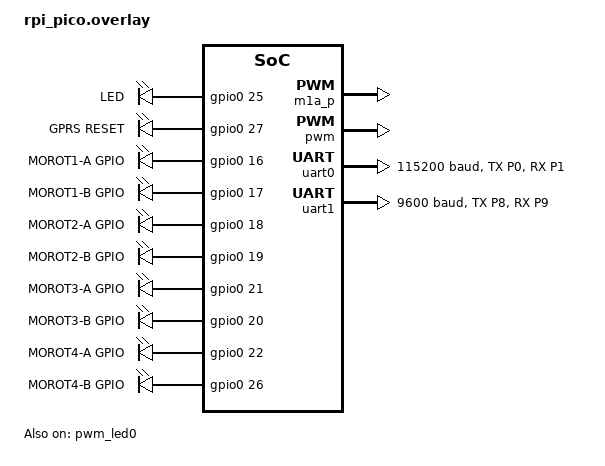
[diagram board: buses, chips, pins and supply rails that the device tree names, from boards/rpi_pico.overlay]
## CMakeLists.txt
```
# SPDX-License-Identifier: Apache-2.0

# NÃO MUDE ESTE ARQUIVO ELE É GERADO
# AUTOMATICAMENTE

cmake_minimum_required(VERSION 3.20.0)

find_package(Zephyr REQUIRED HINTS {ZEPHYR_BASE})

zephyr_library_sources_ifdef(CONFIG_PWM_RPI_PICO	pwm_rpi_pico_slice.c)

project(RPI_PICO)

include_directories( 
includes
lib
lib/motor
lib/led
lib/comm
lib/gprs
lib/textProtocol
src
)

target_sources(app PRIVATE
src/main.c
includes/config.h
includes/hardware.h
lib/motor/motor.h
lib/led/led.h
lib/comm/comm.h
lib/gprs/gprs.h
lib/textProtocol/textProtocol.h
lib/motor/motor.c
lib/led/led.c
lib/comm/comm.c
lib/gprs/gprs.c
lib/textProtocol/textProtocol.c
) 
```

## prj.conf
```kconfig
CONFIG_GPIO=y
CONFIG_I2C=y
CONFIG_PRINTK=y

CONFIG_PWM=y
CONFIG_LED=y
CONFIG_LED_PWM=y

CONFIG_SERIAL=y
CONFIG_UART_INTERRUPT_DRIVEN=y

CONFIG_LOG=n
# CONFIG_BOOT_BANNER=n       
# CONFIG_PRINTK=n
# CONFIG_EARLY_CONSOLE=n
# CONFIG_OVERRIDE_FRAME_POINTER_DEFAULT=y
# CONFIG_BUILD_OUTPUT_STRIPPED=y
# CONFIG_FAULT_DUMP=0
# CONFIG_STACK_SENTINEL=y
```

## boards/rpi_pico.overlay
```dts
/*
 * Copyright (c) 2021 Nordic Semiconductor ASA
 *
 * SPDX-License-Identifier: Apache-2.0
 */

 #include <zephyr/dt-bindings/gpio/gpio.h>

 / {
	// zephyr,user {
	// 	gprs-rst-gpios = <&gpio0 1 GPIO_ACTIVE_HIGH>;
	// };

	aliases {
		gprs-rst	= &gprs_rst;

		led0		= &led0;
		// pwm_led0	= &pwm_led0;
		
		m1a	= &m1a;
		m1b	= &m1b;
		m2a	= &m2a;
		m2b	= &m2b;
		m3a	= &m3a;
		m3b	= &m3b;
		m4a	= &m4a;
		m4b	= &m4b;

		uart0	= &uart0;
		uart1	= &uart1;
	};

	leds {
		compatible = "gpio-leds";
		led0: led_0 {
			gpios = <&gpio0 25 GPIO_ACTIVE_HIGH>;
			label = "LED";
		};
	};
	
	gprs {
		compatible = "gpio-leds";
		// compatible = "pico-gpios";
		gprs_rst: gprs_reset{
			gpios = <&gpio0 27 GPIO_ACTIVE_HIGH>;
			label = "GPRS RESET";
		};
	};
	
	motors {
		compatible = "gpio-leds";
		m1a: m_1a{
			gpios = <&gpio0 16 GPIO_ACTIVE_HIGH>;
			label = "MOROT1-A GPIO";
		};

		m1b: m_1b{
			gpios = <&gpio0 17 GPIO_ACTIVE_HIGH>;
			label = "MOROT1-B GPIO";
		};

		m2a: m_2a{
			gpios = <&gpio0 18 GPIO_ACTIVE_HIGH>;
			label = "MOROT2-A GPIO";
		};

		m2b: m_2b{
			gpios = <&gpio0 19 GPIO_ACTIVE_HIGH>;
			label = "MOROT2-B GPIO";
		};

		m3a: m_3a{
			gpios = <&gpio0 21 GPIO_ACTIVE_HIGH>;
			label = "MOROT3-A GPIO";
		};

		m3b: m_3b{
			gpios = <&gpio0 20 GPIO_ACTIVE_HIGH>;
			label = "MOROT3-B GPIO";
		};

		m4a: m_4a{
			gpios = <&gpio0 22 GPIO_ACTIVE_HIGH>;
			label = "MOROT4-A GPIO";
		};

		m4b: m_4b{
			gpios = <&gpio0 26 GPIO_ACTIVE_HIGH>;
			label = "MOROT4-B GPIO";
		};
	};


	motors_pwm {
		compatible = "pwm-leds";
		m1a_p: pwm_m1a {
			status = "okay";
			pwms = < &pwm 22 0x1312d00 0x0 >;
			label = "PWM_LED";
		};
	};
};

&pwm_led0 {
	status = "okay";
};

&pwm {
	status = "okay";
	divider-frac-4 = <255>;
	divider-int-4 = <255>;
};

&uart0 {
	current-speed = <115200>;
	status = "okay";
	pinctrl-0 = <&uart0_default>;
	pinctrl-names = "default";
};


&uart1 {
	current-speed = <9600>;
	status = "okay";
	pinctrl-0 = <&uart1_default>;
	pinctrl-names = "default";
};

&pinctrl {
	uart0_default: uart0_default {
		group1 {
			pinmux = <UART0_TX_P0>;
		};
		group2 {
			pinmux = <UART0_RX_P1>;
			input-enable;
		};
	};

	uart1_default: uart1_default {
		group1 {
			pinmux = <UART1_TX_P8>;
		};
		group2 {
			pinmux = <UART1_RX_P9>;
			input-enable;
		};
	};
};
```

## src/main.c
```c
/**
 * mam.c
 *
 *  @date Created at:	09/05/2022 11:50:04
 *	@author:	Pedro Igor B. S.
 *	@email:		pedro.igor.ifsp@gmail.com
 * 	GitHub:		https://github.com/pedro-ibs
 * 	tabSize:	8
 *
 * ####################################################################### *
 *   Copyright (C) Pedro Igor B. S 2021
 * -------------------------------------------------------------------
 *
 *   Licença: GNU GPL 2
 * -------------------------------------------------------------------
 *   This program is free software; you can redistribute it and/or
 *   modify it under the terms of the GNU General Public License as
 *   published by the Free Software Foundation; version 2 of the
 *   License.
 *
 *   This program is distributed in the hope that it will be useful,
 *   but WITHOUT ANY WARRANTY; without even the implied warranty of
 *   MERCHANTABILITY or FITNESS FOR A PARTICULAR PURPOSE.  See the
 *   GNU General Public License for more details.
 * -------------------------------------------------------------------
 * #######################################################################
 *
 *
 * PISCA TIMER
 *
 */

/* Includes ----------------------------------------------------------------------------------------------------------------------------------------------*/
#include <string.h>
#include <stdlib.h>
#include <stdio.h>

#include <zephyr.h>
#include <device.h>
#include <devicetree.h>
#include <sys/util.h>
#include <sys/printk.h>

#include <drivers/gpio.h>
#include <drivers/uart.h>

#include <config.h>

#include <motor.h>
#include <gprs.h>
#include <led.h>
#include <comm.h>
#include <textProtocol.h>

/* Setings -----------------------------------------------------------------------------------------------------------------------------------------------*/
/* Function prototype ------------------------------------------------------------------------------------------------------------------------------------*/
/* Setup -------------------------------------------------------------------------------------------------------------------------------------------------*/
/* -------------------------------------------------------------------------------------------------------------------------------------------------------*/


void main(void) {	
	
	motor_uSetup();
	gprs_vSetup();
	led_vSetup();
	comm_vSetup();

	motor_vTurnoff(M1A, M1B);
	motor_vTurnoff(M2A, M2B);
	motor_vTurnoff(M3A, M3B);
	motor_vTurnoff(M4A, M4B);

	printk("started \r\n");

	// led_vPeriodicPingStart(K_MSEC(1000));

	char bff[UART_MESSAGE_SIZE] = "";

	while (true) {
		comm_vGetMessage(UART0, bff, K_FOREVER);

		comm_uSendStringLn(UART0, bff);

		if (textp_bFindString(bff,"toFront") ) { 

			motor_vToFront(M1A, M1B);
			motor_vToFront(M2A, M2B);
			motor_vToFront(M3A, M3B);
			motor_vToFront(M4A, M4B);
		
		} else if (textp_bFindString(bff,"toBack") ) {
		
			motor_vToBack(M1A, M1B);
			motor_vToBack(M2A, M2B);

			motor_vToBack(M3A, M3B);
			motor_vToBack(M4A, M4B);
		
		} else if (textp_bFindString(bff,"turnLeft") ) {
		
			motor_vToBack(M1A, M1B);
			motor_vToBack(M3A, M3B);

			motor_vToFront(M2A, M2B);
			motor_vToFront(M4A, M4B);
		
		} else if (textp_bFindString(bff,"turnRight") ) {
		
			motor_vToFront(M1A, M1B);
			motor_vToFront(M3A, M3B);
			motor_vToBack(M2A, M2B);
			motor_vToBack(M4A, M4B);
		
		} else /*if (textp_bFindString(bff,"turnoff") )*/ {


			motor_vTurnoff(M1A, M1B);
			motor_vTurnoff(M2A, M2B);
			motor_vTurnoff(M3A, M3B);
			motor_vTurnoff(M4A, M4B);

		}
	}
}

/*########################################################################################################################################################*/
/*########################################################################################################################################################*/
/*########################################################################################################################################################*/
/*-------------------------------------------------------------------- Local Functions -------------------------------------------------------------------*/
/*########################################################################################################################################################*/
alpacas                                                             
```
